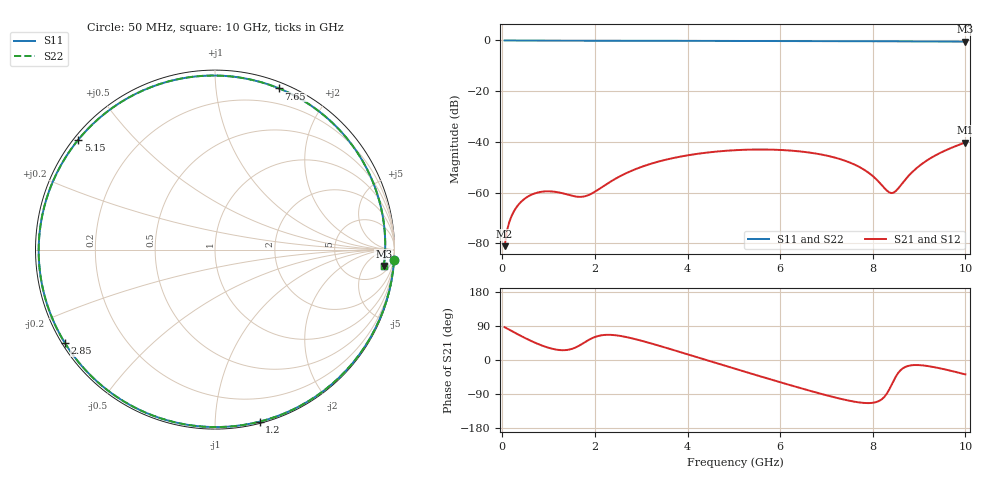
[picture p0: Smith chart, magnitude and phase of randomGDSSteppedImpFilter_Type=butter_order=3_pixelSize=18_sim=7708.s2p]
! freq	dB(S11)	phase(S11)	dB(S12)	phase(S12)
!  dB(S21)	phase(S21)	dB(S22)	phase(S22)
!S-par simulation data
#  GHz  S  DB  R 50
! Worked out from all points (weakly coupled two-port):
!   200 points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, 50 MHz to 10 GHz, reference 50 ohm
!   highest |S21| = -40.22 dB at 10 GHz (marker M1); lowest = -81.1 dB at 50 MHz (marker M2)
!   lowest |S11| = -0.5 dB at 10 GHz (marker M3), VSWR 35.41, Z = 453 - j771 ohm
!   |S11| at or under -10 dB: nowhere
!   |S22| runs from -0.5 to 0.0 dB; largest |S21 - S12| = 0
!   S11 on the Smith chart (normalised r, x): 50 MHz: 0, -34; 1.2 GHz: 0.01, -1.29; 2.85 GHz: 0.01, -0.28; 5.15 GHz: 0.01, +0.35; 7.65 GHz: 0.05, +1.47; 10 GHz: 9, -15
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0.05  -0.00 -3.4  -81.06 86.6  -81.06 86.6  -0.00 -3.4
0.1  -0.01 -6.8  -75.07 83.3  -75.07 83.3  -0.01 -6.8
0.2  -0.02 -13.5  -69.18 76.6  -69.18 76.6  -0.02 -13.5
0.4  -0.04 -26.8  -63.69 63.7  -63.69 63.7  -0.04 -26.8
0.75  -0.06 -49.1  -60.00 43.4  -60.00 43.4  -0.06 -49.1
1.2  -0.09 -75.5  -59.80 26.8  -59.80 26.8  -0.09 -75.5
1.75  -0.11 -103.5  -61.53 44.4  -61.53 44.4  -0.11 -103.5
2.3  -0.12 -127.4  -56.05 66.5  -56.05 66.5  -0.12 -127.4
2.85  -0.13 -148.2  -50.91 55.7  -50.91 55.7  -0.13 -148.2
3.4  -0.14 -166.8  -47.59 37.1  -47.59 37.1  -0.14 -166.8
4.2  -0.17 168.6  -44.70 7.6  -44.70 7.6  -0.17 168.7
5.05  -0.20 144.1  -43.22 -24.0  -43.22 -24.0  -0.20 144.2
5.15  -0.20 141.3  -43.13 -27.7  -43.13 -27.7  -0.20 141.3
5.95  -0.23 118.5  -43.10 -56.8  -43.10 -56.8  -0.23 118.6
6.7  -0.26 96.8  -44.36 -83.2  -44.36 -83.2  -0.26 96.9
7.65  -0.30 68.3  -49.29 -110.9  -49.29 -110.9  -0.30 68.4
8  -0.31 57.6  -53.44 -112.9  -53.44 -112.9  -0.31 57.7
8.35  -0.33 46.7  -59.80 -79.0  -59.80 -79.0  -0.33 46.8
8.5  -0.34 42.0  -59.29 -43.2  -59.29 -43.2  -0.34 42.1
8.85  -0.36 30.9  -51.90 -13.7  -51.90 -13.7  -0.36 31.1
9.15  -0.39 21.4  -47.51 -15.3  -47.51 -15.3  -0.39 21.6
10  -0.49 -5.5  -40.22 -38.0  -40.22 -38.0  -0.49 -5.4
